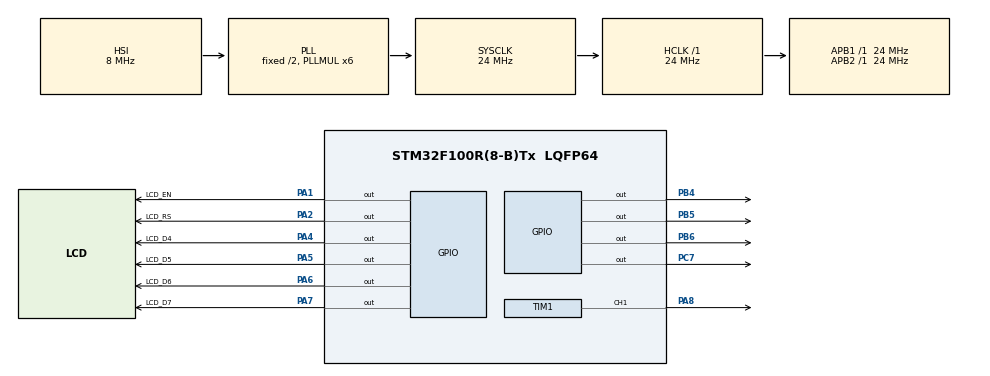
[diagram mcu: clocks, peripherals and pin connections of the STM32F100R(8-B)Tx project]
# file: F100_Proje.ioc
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Mcu.Family=STM32F1
Mcu.Name=STM32F100R(8-B)Tx
Mcu.Package=LQFP64
NVIC.PriorityGroup=NVIC_PRIORITYGROUP_4
PA1.GPIO_Label=LCD_EN
PA1.Signal=GPIO_Output
PA13.Mode=Serial_Wire
PA13.Signal=SYS_JTMS-SWDIO
PA14.Mode=Serial_Wire
PA14.Signal=SYS_JTCK-SWCLK
PA2.GPIO_Label=LCD_RS
PA2.Signal=GPIO_Output
PA4.GPIO_Label=LCD_D4
PA4.Signal=GPIO_Output
PA5.GPIO_Label=LCD_D5
PA5.Signal=GPIO_Output
PA6.GPIO_Label=LCD_D6
PA6.Signal=GPIO_Output
PA7.GPIO_Label=LCD_D7
PA7.Signal=GPIO_Output
PA8.Signal=S_TIM1_CH1
PB4.Signal=GPIO_Output
PB5.Signal=GPIO_Output
PB6.Signal=GPIO_Output
PC14-OSC32_IN.Mode=LSE-External-Oscillator
PC14-OSC32_IN.Signal=RCC_OSC32_IN
PC15-OSC32_OUT.Mode=LSE-External-Oscillator
PC15-OSC32_OUT.Signal=RCC_OSC32_OUT
PC7.Signal=GPIO_Output
PD0-OSC_IN.Mode=HSE-External-Oscillator
PD0-OSC_IN.Signal=RCC_OSC_IN
PD1-OSC_OUT.Mode=HSE-External-Oscillator
PD1-OSC_OUT.Signal=RCC_OSC_OUT
ProjectManager.HeapSize=0x200
ProjectManager.StackSize=0x400
ProjectManager.TargetToolchain=STM32CubeIDE
RCC.AHBFreq_Value=24000000
RCC.APB1Freq_Value=24000000
RCC.APB1TimFreq_Value=24000000
RCC.APB2Freq_Value=24000000
RCC.APB2TimFreq_Value=24000000
RCC.HCLKFreq_Value=24000000
RCC.PLLMUL=RCC_PLL_MUL6
RCC.SYSCLKFreq_VALUE=24000000
RCC.SYSCLKSource=RCC_SYSCLKSOURCE_PLLCLK
RTC.Date=28
RTC.Format=RTC_FORMAT_BIN
RTC.Hours=10
RTC.Minutes=20
RTC.Month=RTC_MONTH_MAY
RTC.Seconds=50
RTC.WeekDay=RTC_WEEKDAY_SATURDAY
RTC.Year=24
SH.S_TIM1_CH1.0=TIM1_CH1,PWM Generation1 CH1
TIM1.Channel-PWM\ Generation1\ CH1=TIM_CHANNEL_1
TIM1.Period=19999
TIM1.Prescaler=23
VP_RTC_VS_RTC_Activate.Mode=RTC_Enabled
VP_RTC_VS_RTC_Calendar.Mode=RTC_Calendar
board=STM32VLDISCOVERY

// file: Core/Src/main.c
/* USER CODE BEGIN Header */
/**
  ******************************************************************************
  * @file           : main.c
  * @brief          : Main program body
  ******************************************************************************
  * @attention
  *
  * Copyright (c) 2024 STMicroelectronics.
  * All rights reserved.
  *
  * This software is licensed under terms that can be found in the LICENSE file
  * in the root directory of this software component.
  * If no LICENSE file comes with this software, it is provided AS-IS.
  *
  ******************************************************************************
  */
/* USER CODE END Header */
#include "main.h"

/* USER CODE BEGIN Includes */
#include"LCD.H" //lcd ekran için eklendi
#include <stdio.h> //sprintf fonksiyonu için dahil edildi
/* USER CODE END Includes */

/* USER CODE BEGIN PD */
RTC_TimeTypeDef stime; //saat uygulaması için eklendi
RTC_DateTypeDef date; // tarih için
char saat_deger[32]; //sprintf için intagerdan karakter dönüşümü için eklenen dizi
char tarih_deger[32]; //sprintf için intagerdan karakter dönüşümü için eklenen dizi
uint16_t gun,ay,yil;  //gun ay yılı tutan 16 bitlik değişkenler
uint16_t saat,dakika,saniye;//saat dakika saniye tutan 16 bitlik değişkenler
int direct=1; //servo değeri arttırmaya başlatan deger
int i=0; //servo derece artışı için
uint32_t deger=0;
/* USER CODE END PD */

RTC_HandleTypeDef hrtc;

TIM_HandleTypeDef htim1;

void SystemClock_Config(void);
static void MX_GPIO_Init(void);
static void MX_TIM1_Init(void);
static void MX_RTC_Init(void);

int main(void)
{

  /* MCU Configuration--------------------------------------------------------*/

  /* Reset of all peripherals, Initializes the Flash interface and the Systick. */
  HAL_Init();

  /* Configure the system clock */
  SystemClock_Config();

  /* Initialize all configured peripherals */
  MX_GPIO_Init();
  MX_TIM1_Init();
  MX_RTC_Init();
  /* USER CODE BEGIN 2 */
  HAL_TIM_PWM_Start(&htim1, TIM_CHANNEL_1); //tımer kanalı pwm olarak basladı
  lcd_init(_LCD_4BIT, _LCD_FONT_5x8, _LCD_2LINE); //lcd başlatma

lcd_clear(); //lcd ilk başlangıçta temizlendi
__HAL_TIM_SET_COMPARE(&htim1,TIM_CHANNEL_1,1000); //servo 0 derece başlangıç konumuna geldi
		//HAL_Delay(500);
  /* USER CODE END 2 */

  /* Infinite loop */
  while (1)
  {

    /* USER CODE BEGIN 3 */

	   HAL_RTC_GetTime(&hrtc, &stime,RTC_FORMAT_BIN); //saat degerleri çekildi
	   HAL_RTC_GetDate(&hrtc, &date, RTC_FORMAT_BIN);

	   saat=stime.Hours;    //cekilendegerler belirlenen degiskenlere atandı
	   dakika=stime.Minutes;
	   saniye=stime.Seconds;

	   gun=date.Date;
	   ay=date.Month;
	   yil=date.Year;

	   sprintf(saat_deger,"%0.2d:%0.2d:%0.2d",saat,dakika,saniye); //int den karaktere dönüşüldü
	   sprintf(tarih_deger,"%0.2d:%0.2d:%0.2d",gun,ay,yil);

	  lcd_print(1,5,saat_deger); //lcd ekrana yazdırıldı
	  lcd_print(2,5,tarih_deger);

	  //alttaki kod dizisinde 0 dan 180 derece arası her bir saniye için 1 derecelik artış oldu
if(direct==1)
{
	if(i<2500 ){
		 __HAL_TIM_SET_COMPARE(&htim1,TIM_CHANNEL_1,i);
		 		  i+=112;
	}

	else
	{
		direct =-1;
	}
}

else if(direct==-1)
{
	if(i>0)
	{
	 __HAL_TIM_SET_COMPARE(&htim1,TIM_CHANNEL_1,i);
		 		  i-=112;
	}
	else
	{
		direct=1;
	}
}

		  HAL_Delay(1000); //her bir saniyede 1 derece dönmesi için
			  lcd_clear(); //lcd temizlendi

  }
  /* USER CODE END 3 */
}

void SystemClock_Config(void)
{
  RCC_OscInitTypeDef RCC_OscInitStruct = {0};
  RCC_ClkInitTypeDef RCC_ClkInitStruct = {0};
  RCC_PeriphCLKInitTypeDef PeriphClkInit = {0};

  /** Initializes the RCC Oscillators according to the specified parameters
  * in the RCC_OscInitTypeDef structure.
  */
  RCC_OscInitStruct.OscillatorType = RCC_OSCILLATORTYPE_HSI|RCC_OSCILLATORTYPE_LSI;
  RCC_OscInitStruct.HSIState = RCC_HSI_ON;
  RCC_OscInitStruct.HSICalibrationValue = RCC_HSICALIBRATION_DEFAULT;
  RCC_OscInitStruct.LSIState = RCC_LSI_ON;
  RCC_OscInitStruct.PLL.PLLState = RCC_PLL_ON;
  RCC_OscInitStruct.PLL.PLLSource = RCC_PLLSOURCE_HSI_DIV2;
  RCC_OscInitStruct.PLL.PLLMUL = RCC_PLL_MUL6;
  if (HAL_RCC_OscConfig(&RCC_OscInitStruct) != HAL_OK)
  {
    Error_Handler();
  }

  /** Initializes the CPU, AHB and APB buses clocks
  */
  RCC_ClkInitStruct.ClockType = RCC_CLOCKTYPE_HCLK|RCC_CLOCKTYPE_SYSCLK
                              |RCC_CLOCKTYPE_PCLK1|RCC_CLOCKTYPE_PCLK2;
  RCC_ClkInitStruct.SYSCLKSource = RCC_SYSCLKSOURCE_PLLCLK;
  RCC_ClkInitStruct.AHBCLKDivider = RCC_SYSCLK_DIV1;
  RCC_ClkInitStruct.APB1CLKDivider = RCC_HCLK_DIV1;
  RCC_ClkInitStruct.APB2CLKDivider = RCC_HCLK_DIV1;

  if (HAL_RCC_ClockConfig(&RCC_ClkInitStruct, FLASH_LATENCY_0) != HAL_OK)
  {
    Error_Handler();
  }
  PeriphClkInit.PeriphClockSelection = RCC_PERIPHCLK_RTC;
  PeriphClkInit.RTCClockSelection = RCC_RTCCLKSOURCE_LSI;
  if (HAL_RCCEx_PeriphCLKConfig(&PeriphClkInit) != HAL_OK)
  {
    Error_Handler();
  }
}

static void MX_RTC_Init(void)
{

  RTC_TimeTypeDef sTime = {0};
  RTC_DateTypeDef DateToUpdate = {0};

  /** Initialize RTC Only
  */
  hrtc.Instance = RTC;
  hrtc.Init.AsynchPrediv = RTC_AUTO_1_SECOND;
  hrtc.Init.OutPut = RTC_OUTPUTSOURCE_ALARM;
  if (HAL_RTC_Init(&hrtc) != HAL_OK)
  {
    Error_Handler();
  }

  /** Initialize RTC and set the Time and Date
  */
  sTime.Hours = 10;
  sTime.Minutes = 20;
  sTime.Seconds = 50;

  if (HAL_RTC_SetTime(&hrtc, &sTime, RTC_FORMAT_BIN) != HAL_OK)
  {
    Error_Handler();
  }
  DateToUpdate.WeekDay = RTC_WEEKDAY_SATURDAY;
  DateToUpdate.Month = RTC_MONTH_MAY;
  DateToUpdate.Date = 28;
  DateToUpdate.Year = 24;

  if (HAL_RTC_SetDate(&hrtc, &DateToUpdate, RTC_FORMAT_BIN) != HAL_OK)
  {
    Error_Handler();
  }

}

static void MX_TIM1_Init(void)
{

  TIM_MasterConfigTypeDef sMasterConfig = {0};
  TIM_OC_InitTypeDef sConfigOC = {0};
  TIM_BreakDeadTimeConfigTypeDef sBreakDeadTimeConfig = {0};

  htim1.Instance = TIM1;
  htim1.Init.Prescaler = 23;
  htim1.Init.CounterMode = TIM_COUNTERMODE_UP;
  htim1.Init.Period = 19999;
  htim1.Init.ClockDivision = TIM_CLOCKDIVISION_DIV1;
  htim1.Init.RepetitionCounter = 0;
  htim1.Init.AutoReloadPreload = TIM_AUTORELOAD_PRELOAD_DISABLE;
  if (HAL_TIM_PWM_Init(&htim1) != HAL_OK)
  {
    Error_Handler();
  }
  sMasterConfig.MasterOutputTrigger = TIM_TRGO_RESET;
  sMasterConfig.MasterSlaveMode = TIM_MASTERSLAVEMODE_DISABLE;
  if (HAL_TIMEx_MasterConfigSynchronization(&htim1, &sMasterConfig) != HAL_OK)
  {
    Error_Handler();
  }
  sConfigOC.OCMode = TIM_OCMODE_PWM1;
  sConfigOC.Pulse = 0;
  sConfigOC.OCPolarity = TIM_OCPOLARITY_HIGH;
  sConfigOC.OCNPolarity = TIM_OCNPOLARITY_HIGH;
  sConfigOC.OCFastMode = TIM_OCFAST_DISABLE;
  sConfigOC.OCIdleState = TIM_OCIDLESTATE_RESET;
  sConfigOC.OCNIdleState = TIM_OCNIDLESTATE_RESET;
  if (HAL_TIM_PWM_ConfigChannel(&htim1, &sConfigOC, TIM_CHANNEL_1) != HAL_OK)
  {
    Error_Handler();
  }
  sBreakDeadTimeConfig.OffStateRunMode = TIM_OSSR_DISABLE;
  sBreakDeadTimeConfig.OffStateIDLEMode = TIM_OSSI_DISABLE;
  sBreakDeadTimeConfig.LockLevel = TIM_LOCKLEVEL_OFF;
  sBreakDeadTimeConfig.DeadTime = 0;
  sBreakDeadTimeConfig.BreakState = TIM_BREAK_DISABLE;
  sBreakDeadTimeConfig.BreakPolarity = TIM_BREAKPOLARITY_HIGH;
  sBreakDeadTimeConfig.AutomaticOutput = TIM_AUTOMATICOUTPUT_DISABLE;
  if (HAL_TIMEx_ConfigBreakDeadTime(&htim1, &sBreakDeadTimeConfig) != HAL_OK)
  {
    Error_Handler();
  }
  HAL_TIM_MspPostInit(&htim1);

}

static void MX_GPIO_Init(void)
{
  GPIO_InitTypeDef GPIO_InitStruct = {0};

  /* GPIO Ports Clock Enable */
  __HAL_RCC_GPIOC_CLK_ENABLE();
  __HAL_RCC_GPIOD_CLK_ENABLE();
  __HAL_RCC_GPIOA_CLK_ENABLE();
  __HAL_RCC_GPIOB_CLK_ENABLE();

  /*Configure GPIO pin Output Level */
  HAL_GPIO_WritePin(GPIOA, LCD_EN_Pin|LCD_RS_Pin|LCD_D4_Pin|LCD_D5_Pin
                          |LCD_D6_Pin|LCD_D7_Pin, GPIO_PIN_RESET);

  /*Configure GPIO pin Output Level */
  HAL_GPIO_WritePin(GPIOC, GPIO_PIN_7, GPIO_PIN_RESET);

  /*Configure GPIO pin Output Level */
  HAL_GPIO_WritePin(GPIOB, GPIO_PIN_4|GPIO_PIN_5|GPIO_PIN_6, GPIO_PIN_RESET);

  /*Configure GPIO pins : LCD_EN_Pin LCD_RS_Pin LCD_D4_Pin LCD_D5_Pin
                           LCD_D6_Pin LCD_D7_Pin */
  GPIO_InitStruct.Pin = LCD_EN_Pin|LCD_RS_Pin|LCD_D4_Pin|LCD_D5_Pin
                          |LCD_D6_Pin|LCD_D7_Pin;
  GPIO_InitStruct.Mode = GPIO_MODE_OUTPUT_PP;
  GPIO_InitStruct.Pull = GPIO_NOPULL;
  GPIO_InitStruct.Speed = GPIO_SPEED_FREQ_LOW;
  HAL_GPIO_Init(GPIOA, &GPIO_InitStruct);

  /*Configure GPIO pin : PC7 */
  GPIO_InitStruct.Pin = GPIO_PIN_7;
  GPIO_InitStruct.Mode = GPIO_MODE_OUTPUT_PP;
  GPIO_InitStruct.Pull = GPIO_NOPULL;
  GPIO_InitStruct.Speed = GPIO_SPEED_FREQ_LOW;
  HAL_GPIO_Init(GPIOC, &GPIO_InitStruct);

  /*Configure GPIO pins : PB4 PB5 PB6 */
  GPIO_InitStruct.Pin = GPIO_PIN_4|GPIO_PIN_5|GPIO_PIN_6;
  GPIO_InitStruct.Mode = GPIO_MODE_OUTPUT_PP;
  GPIO_InitStruct.Pull = GPIO_NOPULL;
  GPIO_InitStruct.Speed = GPIO_SPEED_FREQ_LOW;
  HAL_GPIO_Init(GPIOB, &GPIO_InitStruct);

}

void Error_Handler(void)
{
  __disable_irq();
  while (1)
  {
  }
}
